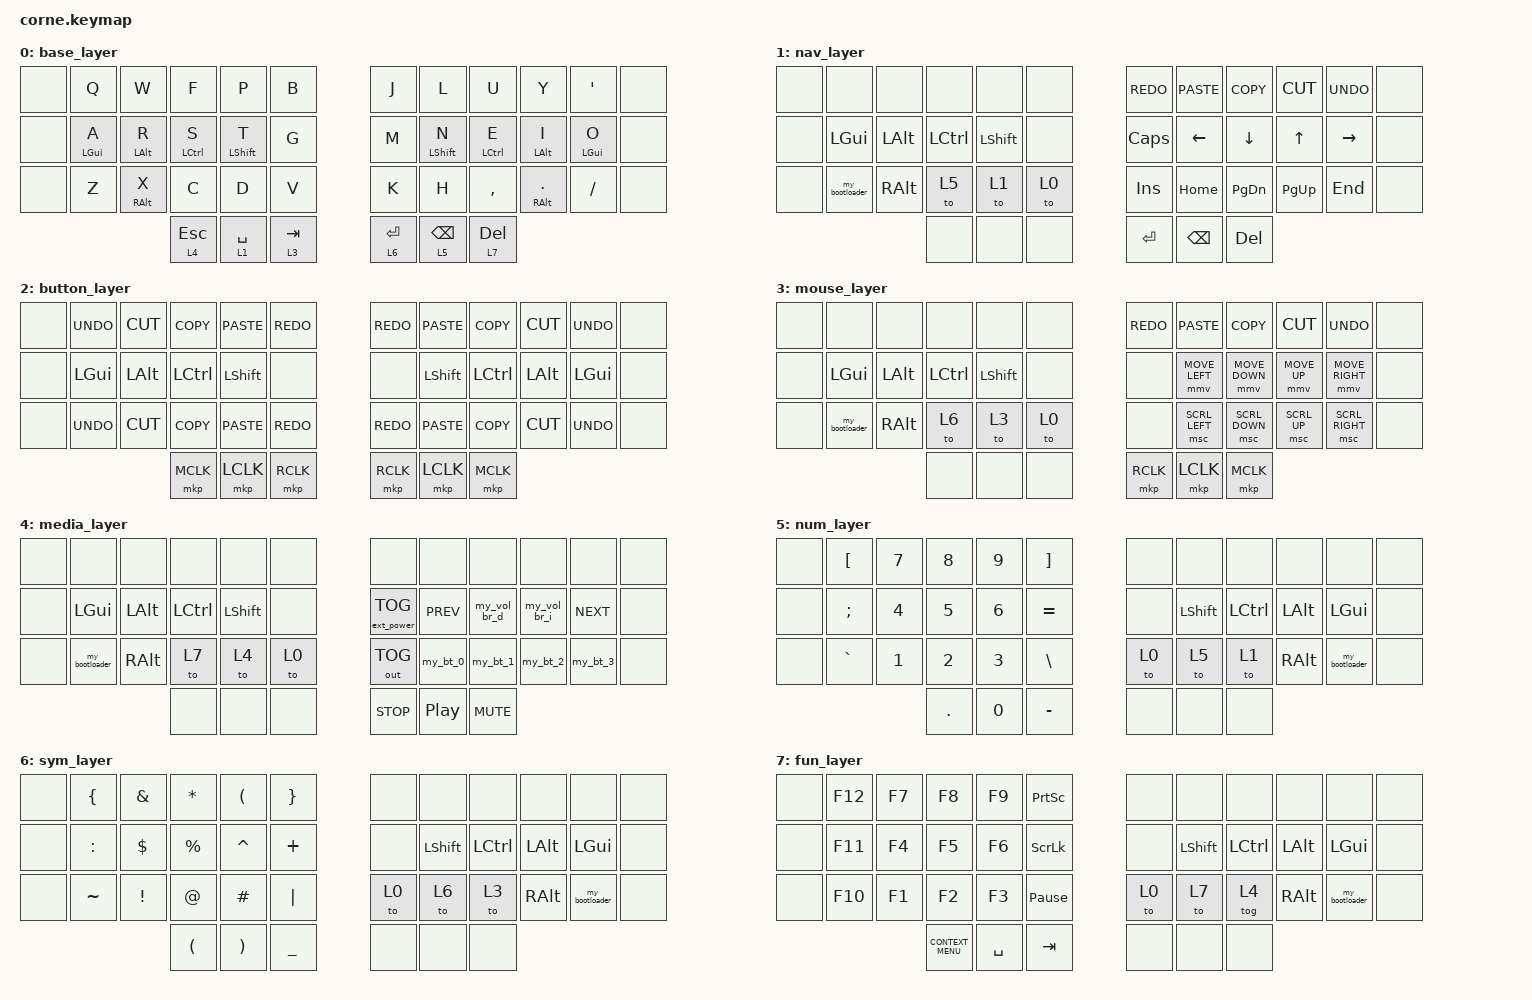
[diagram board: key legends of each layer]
#include <behaviors.dtsi>
#include <dt-bindings/zmk/bt.h>
#include <dt-bindings/zmk/ext_power.h>
#include <dt-bindings/zmk/keys.h>
#include <dt-bindings/zmk/outputs.h>
#include <dt-bindings/zmk/pointing.h>

/ {
    macros {
        bt_sel_cl: bt_sel_cl {
            compatible = "zmk,behavior-macro-one-param";
            #binding-cells = <1>;
            bindings = <&macro_param_1to2 &bt BT_SEL MACRO_PLACEHOLDER &bt BT_CLR>;
            label = "BT_SEL_CL";
        };
    };

    behaviors {
        hm: home_row_mod{
            compatible = "zmk,behavior-hold-tap";
            #binding-cells = <2>;
            flavor = "balanced";
            require-prior-idle-ms = <150>;
            tapping-term-ms = <280>;
            quick-tap-ms = <175>;
            bindings = <&kp>, <&kp>;
	    //hold-trigger-key-positions = < ... >; // List of keys on the right side of the keyboard
            //hold-trigger-on-release;
        };

        my_bt_0: my_bt_0 {
            compatible = "zmk,behavior-mod-morph";
            label = "MY_BT_0";
            bindings = <&bt BT_SEL 0>, <&bt_sel_cl 0>;

            #binding-cells = <0>;
            mods = <(MOD_LSFT)>;
        };

        my_bt_1: my_bt_1 {
            compatible = "zmk,behavior-mod-morph";
            label = "MY_BT_1";
            bindings = <&bt BT_SEL 1>, <&bt_sel_cl 1>;

            #binding-cells = <0>;
            mods = <(MOD_LSFT)>;
        };

        my_bt_2: my_bt_2 {
            compatible = "zmk,behavior-mod-morph";
            label = "MY_BT_2";
            bindings = <&bt BT_SEL 2>, <&bt_sel_cl 2>;

            #binding-cells = <0>;
            mods = <(MOD_LSFT)>;
        };

        my_bt_3: my_bt_3 {
            compatible = "zmk,behavior-mod-morph";
            label = "MY_BT_3";
            bindings = <&bt BT_SEL 3>, <&bt_sel_cl 3>;

            #binding-cells = <0>;
            mods = <(MOD_LSFT)>;
        };

        my_bt_4: my_bt_4 {
            compatible = "zmk,behavior-mod-morph";
            label = "MY_BT_4";
            bindings = <&bt BT_SEL 4>, <&bt_sel_cl 4>;

            #binding-cells = <0>;
            mods = <(MOD_LSFT)>;
        };

        my_vol_br_i: my_vol_br_i {
            compatible = "zmk,behavior-mod-morph";
            label = "MY_VOL_BR_I";
            bindings = <&kp C_BRIGHTNESS_INC>, <&kp K_VOLUME_UP>;

            #binding-cells = <0>;
            mods = <(MOD_LSFT)>;
        };

        my_vol_br_d: my_vol_br_d {
            compatible = "zmk,behavior-mod-morph";
            label = "MY_VOL_BR_D";
            bindings = <&kp C_BRIGHTNESS_DEC>, <&kp K_VOLUME_DOWN>;

            #binding-cells = <0>;
            mods = <(MOD_LSFT)>;
        };

        my_bootloader: my_bootloader {
            compatible = "zmk,behavior-tap-dance";
            label = "MY_BOOTLOADER";
            #binding-cells = <0>;
            bindings = <&none>, <&bootloader>;

            tapping-term-ms = <200>;
        };
    };

    keymap {
        compatible = "zmk,keymap";

        base_layer {
            bindings = <
&none  &kp Q           &kp W            &kp F               &kp P             &kp B        &kp J        &kp L             &kp U               &kp Y                 &kp SQT         &none
&none  &hm LEFT_GUI A  &hm LEFT_ALT R   &hm LEFT_CONTROL S  &hm LEFT_SHIFT T  &kp G        &kp M        &hm LEFT_SHIFT N  &hm LEFT_CONTROL E  &hm LEFT_ALT I        &hm LEFT_GUI O  &none
&none  &kp Z           &hm RIGHT_ALT X  &kp C               &kp D             &kp V        &kp K        &kp H             &kp COMMA           &hm RIGHT_ALT PERIOD  &kp FSLH        &none
                                        &lt 4 ESCAPE        &lt 1 SPACE       &lt 3 TAB    &lt 6 ENTER  &lt 5 BACKSPACE   &lt 7 DELETE
            >;
        };

        nav_layer {
            bindings = <
&none  &none           &none          &none      &none      &none    &kp K_REDO    &kp K_PASTE  &kp K_COPY  &kp K_CUT  &kp K_UNDO  &none
&none  &kp LGUI        &kp LEFT_ALT   &kp LCTRL  &kp LSHFT  &none    &kp CAPSLOCK  &kp LEFT     &kp DOWN    &kp UP     &kp RIGHT   &none
&none  &my_bootloader  &kp RIGHT_ALT  &to 5      &to 1      &to 0    &kp INS       &kp HOME     &kp PG_DN   &kp PG_UP  &kp END     &none
                                      &none      &none      &none    &kp RET       &kp BSPC     &kp DEL
            >;
        };

        button_layer {
            bindings = <
&none  &kp K_UNDO    &kp K_CUT  &kp K_COPY  &kp K_PASTE  &kp K_REDO    &kp K_REDO  &kp K_PASTE  &kp K_COPY  &kp K_CUT  &kp K_UNDO  &none
&none  &kp LEFT_GUI  &kp LALT   &kp LCTRL   &kp LSHFT    &none         &none       &kp LSHFT    &kp LCTRL   &kp LALT   &kp LGUI    &none
&none  &kp K_UNDO    &kp K_CUT  &kp K_COPY  &kp K_PASTE  &kp K_REDO    &kp K_REDO  &kp K_PASTE  &kp K_COPY  &kp K_CUT  &kp K_UNDO  &none
                                &mkp MCLK   &mkp LCLK    &mkp RCLK     &mkp RCLK   &mkp LCLK    &mkp MCLK
            >;
        };

        mouse_layer {
            bindings = <
&none  &none           &none          &none      &none      &none    &kp K_REDO  &kp K_PASTE     &kp K_COPY      &kp K_CUT     &kp K_UNDO       &none
&none  &kp LGUI        &kp LALT       &kp LCTRL  &kp LSHFT  &none    &none       &mmv MOVE_LEFT  &mmv MOVE_DOWN  &mmv MOVE_UP  &mmv MOVE_RIGHT  &none
&none  &my_bootloader  &kp RIGHT_ALT  &to 6      &to 3      &to 0    &none       &msc SCRL_LEFT  &msc SCRL_DOWN  &msc SCRL_UP  &msc SCRL_RIGHT  &none
                                      &none      &none      &none    &mkp RCLK   &mkp LCLK       &mkp MCLK
            >;
        };

        media_layer {
            bindings = <
&none  &none           &none          &none      &none      &none    &none              &none             &none         &none         &none       &none
&none  &kp LGUI        &kp LALT       &kp LCTRL  &kp LSHFT  &none    &ext_power EP_TOG  &kp C_PREV        &my_vol_br_d  &my_vol_br_i  &kp C_NEXT  &none
&none  &my_bootloader  &kp RIGHT_ALT  &to 7      &to 4      &to 0    &out OUT_TOG       &my_bt_0          &my_bt_1      &my_bt_2      &my_bt_3    &none
                                      &none      &none      &none    &kp C_STOP         &kp C_PLAY_PAUSE  &kp C_MUTE
            >;
        };

        num_layer {
            bindings = <
&none  &kp LBKT   &kp N7  &kp N8   &kp N9  &kp RBKT     &none  &none      &none      &none          &none           &none
&none  &kp SEMI   &kp N4  &kp N5   &kp N6  &kp EQUAL    &none  &kp LSHFT  &kp LCTRL  &kp LALT       &kp LGUI        &none
&none  &kp GRAVE  &kp N1  &kp N2   &kp N3  &kp BSLH     &to 0  &to 5      &to 1      &kp RIGHT_ALT  &my_bootloader  &none
                          &kp DOT  &kp N0  &kp MINUS    &none  &none      &none
            >;
        };

        sym_layer {
            bindings = <
&none  &kp LEFT_BRACE  &kp AMPERSAND  &kp ASTERISK          &kp LEFT_PARENTHESIS   &kp RIGHT_BRACE    &none  &none      &none      &none          &none           &none
&none  &kp COLON       &kp DOLLAR     &kp PERCENT           &kp CARET              &kp PLUS           &none  &kp LSHFT  &kp LCTRL  &kp LALT       &kp LGUI        &none
&none  &kp TILDE       &kp EXCL       &kp AT_SIGN           &kp POUND              &kp PIPE           &to 0  &to 6      &to 3      &kp RIGHT_ALT  &my_bootloader  &none
                                      &kp LEFT_PARENTHESIS  &kp RIGHT_PARENTHESIS  &kp UNDERSCORE     &none  &none      &none
            >;
        };

        fun_layer {
            bindings = <
&none  &kp F12  &kp F7  &kp F8              &kp F9     &kp PRINTSCREEN    &none  &none      &none      &none          &none           &none
&none  &kp F11  &kp F4  &kp F5              &kp F6     &kp SCROLLLOCK     &none  &kp LSHFT  &kp LCTRL  &kp LALT       &kp LGUI        &none
&none  &kp F10  &kp F1  &kp F2              &kp F3     &kp PAUSE_BREAK    &to 0  &to 7      &tog 4     &kp RIGHT_ALT  &my_bootloader  &none
                        &kp K_CONTEXT_MENU  &kp SPACE  &kp TAB            &none  &none      &none
            >;
        };
    };
};
